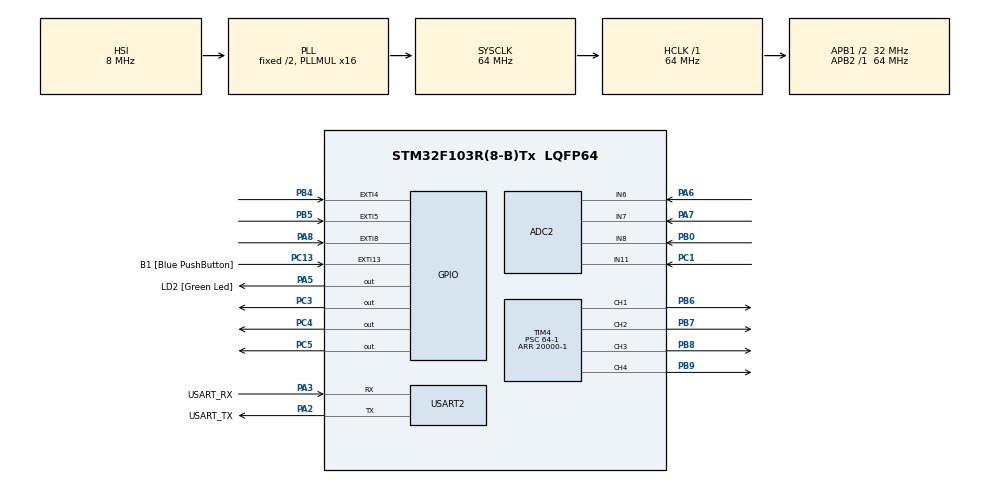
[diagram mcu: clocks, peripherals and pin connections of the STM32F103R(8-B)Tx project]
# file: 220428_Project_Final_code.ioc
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ADC2.Channel-0\#ChannelRegularConversion=ADC_CHANNEL_6
ADC2.Channel-1\#ChannelRegularConversion=ADC_CHANNEL_7
ADC2.Channel-2\#ChannelRegularConversion=ADC_CHANNEL_8
ADC2.Channel-3\#ChannelRegularConversion=ADC_CHANNEL_11
ADC2.ContinuousConvMode=DISABLE
ADC2.DiscontinuousConvMode=ENABLE
ADC2.NbrOfConversion=4
ADC2.NbrOfConversionFlag=1
ADC2.Rank-0\#ChannelRegularConversion=1
ADC2.Rank-1\#ChannelRegularConversion=2
ADC2.Rank-2\#ChannelRegularConversion=3
ADC2.Rank-3\#ChannelRegularConversion=4
ADC2.SamplingTime-0\#ChannelRegularConversion=ADC_SAMPLETIME_239CYCLES_5
ADC2.SamplingTime-1\#ChannelRegularConversion=ADC_SAMPLETIME_239CYCLES_5
ADC2.SamplingTime-2\#ChannelRegularConversion=ADC_SAMPLETIME_239CYCLES_5
ADC2.SamplingTime-3\#ChannelRegularConversion=ADC_SAMPLETIME_239CYCLES_5
Mcu.Family=STM32F1
Mcu.Name=STM32F103R(8-B)Tx
Mcu.Package=LQFP64
NVIC.EXTI15_10_IRQn=true\:0\:0\:false\:false\:true\:true\:true\:true
NVIC.EXTI4_IRQn=true\:0\:0\:false\:false\:true\:true\:true\:true
NVIC.EXTI9_5_IRQn=true\:0\:0\:false\:false\:true\:true\:true\:true
NVIC.PriorityGroup=NVIC_PRIORITYGROUP_4
PA13.GPIO_Label=TMS
PA13.Mode=Serial_Wire
PA13.Signal=SYS_JTMS-SWDIO
PA14.GPIO_Label=TCK
PA14.Mode=Serial_Wire
PA14.Signal=SYS_JTCK-SWCLK
PA2.GPIO_Label=USART_TX
PA2.GPIO_Mode=GPIO_MODE_AF_PP
PA2.GPIO_PuPd=GPIO_NOPULL
PA2.GPIO_Speed=GPIO_SPEED_FREQ_LOW
PA2.Mode=Asynchronous
PA2.Signal=USART2_TX
PA3.GPIO_Label=USART_RX
PA3.GPIO_Mode=GPIO_MODE_AF_PP
PA3.GPIO_PuPd=GPIO_NOPULL
PA3.GPIO_Speed=GPIO_SPEED_FREQ_LOW
PA3.Mode=Asynchronous
PA3.Signal=USART2_RX
PA5.GPIO_Label=LD2 [Green Led]
PA5.GPIO_ModeDefaultOutputPP=GPIO_MODE_OUTPUT_PP
PA5.GPIO_PuPd=GPIO_NOPULL
PA5.GPIO_Speed=GPIO_SPEED_FREQ_LOW
PA5.Signal=GPIO_Output
PA6.Signal=ADCx_IN6
PA7.Signal=ADCx_IN7
PA8.Signal=GPXTI8
PB0.Signal=ADCx_IN8
PB3.GPIO_Label=SWO
PB3.Signal=SYS_JTDO-TRACESWO
PB4.Signal=GPXTI4
PB5.Signal=GPXTI5
PB6.Signal=S_TIM4_CH1
PB7.Signal=S_TIM4_CH2
PB8.Signal=S_TIM4_CH3
PB9.Signal=S_TIM4_CH4
PC1.Signal=ADCx_IN11
PC13-TAMPER-RTC.GPIO_Label=B1 [Blue PushButton]
PC13-TAMPER-RTC.GPIO_PuPd=GPIO_NOPULL
PC13-TAMPER-RTC.Signal=GPXTI13
PC14-OSC32_IN.Mode=LSE-External-Oscillator
PC14-OSC32_IN.Signal=RCC_OSC32_IN
PC15-OSC32_OUT.Mode=LSE-External-Oscillator
PC15-OSC32_OUT.Signal=RCC_OSC32_OUT
PC3.Signal=GPIO_Output
PC4.Signal=GPIO_Output
PC5.Signal=GPIO_Output
PD0-OSC_IN.Mode=HSE-External-Clock-Source
PD0-OSC_IN.Signal=RCC_OSC_IN
PD1-OSC_OUT.Mode=HSE-External-Clock-Source
PD1-OSC_OUT.Signal=RCC_OSC_OUT
ProjectManager.HeapSize=0x200
ProjectManager.StackSize=0x400
ProjectManager.TargetToolchain=STM32CubeIDE
RCC.ADCPresc=RCC_ADCPCLK2_DIV8
RCC.AHBFreq_Value=64000000
RCC.APB1CLKDivider=RCC_HCLK_DIV2
RCC.APB1Freq_Value=32000000
RCC.APB1TimFreq_Value=64000000
RCC.APB2Freq_Value=64000000
RCC.APB2TimFreq_Value=64000000
RCC.HCLKFreq_Value=64000000
RCC.PLLMUL=RCC_PLL_MUL16
RCC.RTCClockSelection=RCC_RTCCLKSOURCE_LSE
RCC.SYSCLKFreq_VALUE=64000000
RCC.SYSCLKSource=RCC_SYSCLKSOURCE_PLLCLK
RCC.USBFreq_Value=64000000
SH.ADCx_IN11.0=ADC2_IN11,IN11
SH.ADCx_IN6.0=ADC2_IN6,IN6
SH.ADCx_IN7.0=ADC2_IN7,IN7
SH.ADCx_IN8.0=ADC2_IN8,IN8
SH.S_TIM4_CH1.0=TIM4_CH1,PWM Generation1 CH1
SH.S_TIM4_CH2.0=TIM4_CH2,PWM Generation2 CH2
SH.S_TIM4_CH3.0=TIM4_CH3,PWM Generation3 CH3
SH.S_TIM4_CH4.0=TIM4_CH4,PWM Generation4 CH4
TIM4.Channel-PWM\ Generation1\ CH1=TIM_CHANNEL_1
TIM4.Channel-PWM\ Generation2\ CH2=TIM_CHANNEL_2
TIM4.Channel-PWM\ Generation3\ CH3=TIM_CHANNEL_3
TIM4.Channel-PWM\ Generation4\ CH4=TIM_CHANNEL_4
TIM4.ClockDivision=TIM_CLOCKDIVISION_DIV1
TIM4.Period=20000-1
TIM4.Prescaler=64-1
TIM4.Pulse-PWM\ Generation1\ CH1=5000
TIM4.Pulse-PWM\ Generation2\ CH2=5000
TIM4.Pulse-PWM\ Generation3\ CH3=5000
TIM4.Pulse-PWM\ Generation4\ CH4=5000
USART2.VirtualMode=VM_ASYNC
board=NUCLEO-F103RB

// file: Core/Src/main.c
/* USER CODE BEGIN Header */
/**
  ******************************************************************************
  * @file           : main.c
  * @brief          : Main program body
  ******************************************************************************
  * @attention
  *
  * Copyright (c) 2022 STMicroelectronics.
  * All rights reserved.
  *
  * This software is licensed under terms that can be found in the LICENSE file
  * in the root directory of this software component.
  * If no LICENSE file comes with this software, it is provided AS-IS.
  *
  ******************************************************************************
  */
/* USER CODE END Header */
#include "main.h"

/* USER CODE BEGIN Includes */
#include "stdio.h"
/* USER CODE END Includes */

/* USER CODE BEGIN PTD */
#ifdef __GNUC__
/* With GCC, small printf (option LD Linker->Libraries->Small printf
   set to 'Yes') calls __io_putchar() */
#define PUTCHAR_PROTOTYPE int __io_putchar(int ch)
#else
#define PUTCHAR_PROTOTYPE int fputc(int ch, FILE *f)
#endif /* __GNUC__ */
/* USER CODE END PTD */

 ADC_HandleTypeDef hadc2;

TIM_HandleTypeDef htim4;

UART_HandleTypeDef huart2;

void SystemClock_Config(void);
static void MX_GPIO_Init(void);
static void MX_USART2_UART_Init(void);
static void MX_ADC2_Init(void);
static void MX_TIM4_Init(void);

/* USER CODE BEGIN 0 */
uint16_t state[4][2000] = {0};
uint16_t compare = 0;
int idx = 0;
uint16_t preVal1;
uint16_t preVal2;
uint16_t preVal3;
uint16_t preVal4;

/* USER CODE END 0 */

int main(void)
{
  /* USER CODE BEGIN 1 */
	uint16_t adcResult1 = 0;
	uint16_t adcResult2 = 0;
	uint16_t adcResult3 = 0;
	uint16_t adcResult4 = 0;
  /* USER CODE END 1 */

  /* MCU Configuration--------------------------------------------------------*/

  /* Reset of all peripherals, Initializes the Flash interface and the Systick. */
  HAL_Init();

  /* Configure the system clock */
  SystemClock_Config();

  /* Initialize all configured peripherals */
  MX_GPIO_Init();
  MX_USART2_UART_Init();
  MX_ADC2_Init();
  MX_TIM4_Init();
  /* USER CODE BEGIN 2 */
  HAL_TIM_PWM_Start(&htim4, TIM_CHANNEL_1);
  HAL_TIM_PWM_Start(&htim4, TIM_CHANNEL_2);
  HAL_TIM_PWM_Start(&htim4, TIM_CHANNEL_3);
  HAL_TIM_PWM_Start(&htim4, TIM_CHANNEL_4);
  /* USER CODE END 2 */

  /* Infinite loop */
  /* USER CODE BEGIN WHILE */
  while (1)
    {
  	  	  if(compare ==0){
  	  		  if(state[0][0] >0){
  	  			  for(int jdx= 0 ; jdx<4; jdx++){

  	  				  for(int kdx = 0; kdx<1000; kdx++){
  	  					state[jdx][kdx] = -1;
  	  				  }
  	  			  }
  	  			  idx = 0;
  	  		  }

  	  		  HAL_ADC_Start(&hadc2);
  	  		  HAL_ADC_PollForConversion(&hadc2, 100);
  	  		  int nowVal1 = HAL_ADC_GetValue(&hadc2)*180/78;
  	  		  if(nowVal1 >1800) nowVal1 = 1800;
  	  		  if(nowVal1 >=preVal1+ 10 ||nowVal1 <=preVal1- 10) 	preVal1 = nowVal1;
  	  		  adcResult1 = preVal1+600;

  	  		  HAL_ADC_Start(&hadc2);
  	  		  HAL_ADC_PollForConversion(&hadc2, 100);
  	  		  int nowVal2 = HAL_ADC_GetValue(&hadc2)*180/78;
  	  		  if(nowVal2 >1800) nowVal2 = 1800;
  	  		  if(nowVal2 >=preVal2+ 10 ||nowVal2 <=preVal2- 10)  	preVal2 = nowVal2;
  	  		  adcResult2 = preVal2+600;

  	  		  HAL_ADC_Start(&hadc2);
  	  		  HAL_ADC_PollForConversion(&hadc2, 100);
  	  		  int nowVal3 = HAL_ADC_GetValue(&hadc2)*180/78;
  	  		  if(nowVal3 >1800) nowVal3 = 1800;
  	  		  if(nowVal3 >=preVal3+ 10 ||nowVal3 <=preVal3- 10)  	preVal3 = nowVal3;
  	  		  adcResult3 = preVal3+600;

  	  		  HAL_ADC_Start(&hadc2);
  	  		  HAL_ADC_PollForConversion(&hadc2, 100);
  	  		  int nowVal4 = HAL_ADC_GetValue(&hadc2)*180/78;
  	  		  if(nowVal4 >500) nowVal4 = 500;
  	  		  if(nowVal4 >=preVal4+ 10 ||nowVal4 <=preVal4- 10)  	preVal4 = nowVal4;
  	  		  adcResult4 = preVal4+600;

  	  		  htim4.Instance->CCR1 = 3000-adcResult1;
  	  		  htim4.Instance->CCR2 = 3000-adcResult2;
			  htim4.Instance->CCR3 = 3000-adcResult3; //600 --> 2400
			  htim4.Instance->CCR4 = adcResult4;
			  printf("angle1 : %d		angle2 : %d	angle3 : %d	angle4 : %d\n\r",adcResult1,adcResult2,adcResult3,adcResult4);
  	  	  }

  	  	  else if(compare ==1){
  	  		  HAL_ADC_Start(&hadc2);
  	  		  HAL_ADC_PollForConversion(&hadc2, 100);
  	  		  int nowVal1 = HAL_ADC_GetValue(&hadc2)*180/78;
  	  		  if(nowVal1 >1800) nowVal1 = 1800;
  	  		  if(nowVal1 >=preVal1+ 10 ||nowVal1 <=preVal1- 10) 	preVal1 = nowVal1;
  	  		  adcResult1 = preVal1+600;

  	  		  HAL_ADC_Start(&hadc2);
  	  		  HAL_ADC_PollForConversion(&hadc2, 100);
  	  		  int nowVal2 = HAL_ADC_GetValue(&hadc2)*180/78;
  	  		  if(nowVal2 >1800) nowVal2 = 1800;
  	  		  if(nowVal2 >=preVal2+ 10 ||nowVal2 <=preVal2- 10)  	preVal2 = nowVal2;
  	  		  adcResult2 = preVal2+600;

  	  		  HAL_ADC_Start(&hadc2);
  	  		  HAL_ADC_PollForConversion(&hadc2, 100);
  	  		  int nowVal3 = HAL_ADC_GetValue(&hadc2)*180/78;
  	  		  if(nowVal3 >1800) nowVal3 = 1800;
  	  		  if(nowVal3 >=preVal3+ 10 ||nowVal3 <=preVal3- 10)  	preVal3 = nowVal3;
  	  		  adcResult3 = preVal3+600;

  	  		  HAL_ADC_Start(&hadc2);
  	  		  HAL_ADC_PollForConversion(&hadc2, 100);
  	  		  int nowVal4 = HAL_ADC_GetValue(&hadc2)*180/78;
  	  		  if(nowVal4 >1800) nowVal4 = 1800;
  	  		  if(nowVal4 >=preVal4+ 10 ||nowVal4 <=preVal4- 10)  	preVal4 = nowVal4;
  	  		  adcResult4 = preVal4+600;

  	  		  htim4.Instance->CCR1 = 3000-adcResult1;
  	  		  htim4.Instance->CCR2 = 3000-adcResult2;
  	  		  htim4.Instance->CCR3 = 3000-adcResult3;
  	  		  htim4.Instance->CCR4 = adcResult4;
  	  		  printf("store....\n\r\n\r");

  	  		  state[0][idx]= 3000-adcResult1;
  	  		  state[1][idx]= 3000-adcResult2;
  	  		  state[2][idx]= 3000-adcResult3;
  	  		  state[3][idx++]= adcResult4;

  	  	 	  HAL_Delay(10);
  	  	  }

  	  	  else if(compare ==2){
  	  		  for(int jdx = 0; jdx< idx; jdx++){
  	  			  printf("replay....\n\r\n\r");
  	  	  		  htim4.Instance->CCR1 = state[0][jdx];
  	  	  		  htim4.Instance->CCR2 = state[1][jdx];
  	  	  		  htim4.Instance->CCR3 = state[2][jdx];
  	  	  		  htim4.Instance->CCR4 = state[3][jdx];

  	  			  HAL_Delay(10);
  	  		  }
  	  	  }
    /* USER CODE END WHILE */

    }
}

void SystemClock_Config(void)
{
  RCC_OscInitTypeDef RCC_OscInitStruct = {0};
  RCC_ClkInitTypeDef RCC_ClkInitStruct = {0};
  RCC_PeriphCLKInitTypeDef PeriphClkInit = {0};

  /** Initializes the RCC Oscillators according to the specified parameters
  * in the RCC_OscInitTypeDef structure.
  */
  RCC_OscInitStruct.OscillatorType = RCC_OSCILLATORTYPE_HSI;
  RCC_OscInitStruct.HSIState = RCC_HSI_ON;
  RCC_OscInitStruct.HSICalibrationValue = RCC_HSICALIBRATION_DEFAULT;
  RCC_OscInitStruct.PLL.PLLState = RCC_PLL_ON;
  RCC_OscInitStruct.PLL.PLLSource = RCC_PLLSOURCE_HSI_DIV2;
  RCC_OscInitStruct.PLL.PLLMUL = RCC_PLL_MUL16;
  if (HAL_RCC_OscConfig(&RCC_OscInitStruct) != HAL_OK)
  {
    Error_Handler();
  }

  /** Initializes the CPU, AHB and APB buses clocks
  */
  RCC_ClkInitStruct.ClockType = RCC_CLOCKTYPE_HCLK|RCC_CLOCKTYPE_SYSCLK
                              |RCC_CLOCKTYPE_PCLK1|RCC_CLOCKTYPE_PCLK2;
  RCC_ClkInitStruct.SYSCLKSource = RCC_SYSCLKSOURCE_PLLCLK;
  RCC_ClkInitStruct.AHBCLKDivider = RCC_SYSCLK_DIV1;
  RCC_ClkInitStruct.APB1CLKDivider = RCC_HCLK_DIV2;
  RCC_ClkInitStruct.APB2CLKDivider = RCC_HCLK_DIV1;

  if (HAL_RCC_ClockConfig(&RCC_ClkInitStruct, FLASH_LATENCY_2) != HAL_OK)
  {
    Error_Handler();
  }
  PeriphClkInit.PeriphClockSelection = RCC_PERIPHCLK_ADC;
  PeriphClkInit.AdcClockSelection = RCC_ADCPCLK2_DIV8;
  if (HAL_RCCEx_PeriphCLKConfig(&PeriphClkInit) != HAL_OK)
  {
    Error_Handler();
  }
}

static void MX_ADC2_Init(void)
{

  ADC_ChannelConfTypeDef sConfig = {0};

  /** Common config
  */
  hadc2.Instance = ADC2;
  hadc2.Init.ScanConvMode = ADC_SCAN_ENABLE;
  hadc2.Init.ContinuousConvMode = DISABLE;
  hadc2.Init.DiscontinuousConvMode = ENABLE;
  hadc2.Init.NbrOfDiscConversion = 1;
  hadc2.Init.ExternalTrigConv = ADC_SOFTWARE_START;
  hadc2.Init.DataAlign = ADC_DATAALIGN_RIGHT;
  hadc2.Init.NbrOfConversion = 4;
  if (HAL_ADC_Init(&hadc2) != HAL_OK)
  {
    Error_Handler();
  }

  /** Configure Regular Channel
  */
  sConfig.Channel = ADC_CHANNEL_6;
  sConfig.Rank = ADC_REGULAR_RANK_1;
  sConfig.SamplingTime = ADC_SAMPLETIME_239CYCLES_5;
  if (HAL_ADC_ConfigChannel(&hadc2, &sConfig) != HAL_OK)
  {
    Error_Handler();
  }

  /** Configure Regular Channel
  */
  sConfig.Channel = ADC_CHANNEL_7;
  sConfig.Rank = ADC_REGULAR_RANK_2;
  if (HAL_ADC_ConfigChannel(&hadc2, &sConfig) != HAL_OK)
  {
    Error_Handler();
  }

  /** Configure Regular Channel
  */
  sConfig.Channel = ADC_CHANNEL_8;
  sConfig.Rank = ADC_REGULAR_RANK_3;
  if (HAL_ADC_ConfigChannel(&hadc2, &sConfig) != HAL_OK)
  {
    Error_Handler();
  }

  /** Configure Regular Channel
  */
  sConfig.Channel = ADC_CHANNEL_11;
  sConfig.Rank = ADC_REGULAR_RANK_4;
  if (HAL_ADC_ConfigChannel(&hadc2, &sConfig) != HAL_OK)
  {
    Error_Handler();
  }

}

static void MX_TIM4_Init(void)
{

  TIM_MasterConfigTypeDef sMasterConfig = {0};
  TIM_OC_InitTypeDef sConfigOC = {0};

  htim4.Instance = TIM4;
  htim4.Init.Prescaler = 64-1;
  htim4.Init.CounterMode = TIM_COUNTERMODE_UP;
  htim4.Init.Period = 20000-1;
  htim4.Init.ClockDivision = TIM_CLOCKDIVISION_DIV1;
  htim4.Init.AutoReloadPreload = TIM_AUTORELOAD_PRELOAD_DISABLE;
  if (HAL_TIM_PWM_Init(&htim4) != HAL_OK)
  {
    Error_Handler();
  }
  sMasterConfig.MasterOutputTrigger = TIM_TRGO_RESET;
  sMasterConfig.MasterSlaveMode = TIM_MASTERSLAVEMODE_DISABLE;
  if (HAL_TIMEx_MasterConfigSynchronization(&htim4, &sMasterConfig) != HAL_OK)
  {
    Error_Handler();
  }
  sConfigOC.OCMode = TIM_OCMODE_PWM1;
  sConfigOC.Pulse = 5000;
  sConfigOC.OCPolarity = TIM_OCPOLARITY_HIGH;
  sConfigOC.OCFastMode = TIM_OCFAST_DISABLE;
  if (HAL_TIM_PWM_ConfigChannel(&htim4, &sConfigOC, TIM_CHANNEL_1) != HAL_OK)
  {
    Error_Handler();
  }
  if (HAL_TIM_PWM_ConfigChannel(&htim4, &sConfigOC, TIM_CHANNEL_2) != HAL_OK)
  {
    Error_Handler();
  }
  if (HAL_TIM_PWM_ConfigChannel(&htim4, &sConfigOC, TIM_CHANNEL_3) != HAL_OK)
  {
    Error_Handler();
  }
  if (HAL_TIM_PWM_ConfigChannel(&htim4, &sConfigOC, TIM_CHANNEL_4) != HAL_OK)
  {
    Error_Handler();
  }
  HAL_TIM_MspPostInit(&htim4);

}

static void MX_USART2_UART_Init(void)
{

  huart2.Instance = USART2;
  huart2.Init.BaudRate = 115200;
  huart2.Init.WordLength = UART_WORDLENGTH_8B;
  huart2.Init.StopBits = UART_STOPBITS_1;
  huart2.Init.Parity = UART_PARITY_NONE;
  huart2.Init.Mode = UART_MODE_TX_RX;
  huart2.Init.HwFlowCtl = UART_HWCONTROL_NONE;
  huart2.Init.OverSampling = UART_OVERSAMPLING_16;
  if (HAL_UART_Init(&huart2) != HAL_OK)
  {
    Error_Handler();
  }

}

static void MX_GPIO_Init(void)
{
  GPIO_InitTypeDef GPIO_InitStruct = {0};

  /* GPIO Ports Clock Enable */
  __HAL_RCC_GPIOC_CLK_ENABLE();
  __HAL_RCC_GPIOD_CLK_ENABLE();
  __HAL_RCC_GPIOA_CLK_ENABLE();
  __HAL_RCC_GPIOB_CLK_ENABLE();

  /*Configure GPIO pin Output Level */
  HAL_GPIO_WritePin(GPIOC, GPIO_PIN_3|GPIO_PIN_4|GPIO_PIN_5, GPIO_PIN_RESET);

  /*Configure GPIO pin Output Level */
  HAL_GPIO_WritePin(LD2_GPIO_Port, LD2_Pin, GPIO_PIN_RESET);

  /*Configure GPIO pin : B1_Pin */
  GPIO_InitStruct.Pin = B1_Pin;
  GPIO_InitStruct.Mode = GPIO_MODE_IT_RISING;
  GPIO_InitStruct.Pull = GPIO_NOPULL;
  HAL_GPIO_Init(B1_GPIO_Port, &GPIO_InitStruct);

  /*Configure GPIO pins : PC3 PC4 PC5 */
  GPIO_InitStruct.Pin = GPIO_PIN_3|GPIO_PIN_4|GPIO_PIN_5;
  GPIO_InitStruct.Mode = GPIO_MODE_OUTPUT_PP;
  GPIO_InitStruct.Pull = GPIO_NOPULL;
  GPIO_InitStruct.Speed = GPIO_SPEED_FREQ_LOW;
  HAL_GPIO_Init(GPIOC, &GPIO_InitStruct);

  /*Configure GPIO pin : LD2_Pin */
  GPIO_InitStruct.Pin = LD2_Pin;
  GPIO_InitStruct.Mode = GPIO_MODE_OUTPUT_PP;
  GPIO_InitStruct.Pull = GPIO_NOPULL;
  GPIO_InitStruct.Speed = GPIO_SPEED_FREQ_LOW;
  HAL_GPIO_Init(LD2_GPIO_Port, &GPIO_InitStruct);

  /*Configure GPIO pin : PA8 */
  GPIO_InitStruct.Pin = GPIO_PIN_8;
  GPIO_InitStruct.Mode = GPIO_MODE_IT_RISING;
  GPIO_InitStruct.Pull = GPIO_NOPULL;
  HAL_GPIO_Init(GPIOA, &GPIO_InitStruct);

  /*Configure GPIO pins : PB4 PB5 */
  GPIO_InitStruct.Pin = GPIO_PIN_4|GPIO_PIN_5;
  GPIO_InitStruct.Mode = GPIO_MODE_IT_RISING;
  GPIO_InitStruct.Pull = GPIO_NOPULL;
  HAL_GPIO_Init(GPIOB, &GPIO_InitStruct);

  /* EXTI interrupt init*/
  HAL_NVIC_SetPriority(EXTI4_IRQn, 0, 0);
  HAL_NVIC_EnableIRQ(EXTI4_IRQn);

  HAL_NVIC_SetPriority(EXTI9_5_IRQn, 0, 0);
  HAL_NVIC_EnableIRQ(EXTI9_5_IRQn);

  HAL_NVIC_SetPriority(EXTI15_10_IRQn, 0, 0);
  HAL_NVIC_EnableIRQ(EXTI15_10_IRQn);

}

/* USER CODE BEGIN 4 */
PUTCHAR_PROTOTYPE
{
  /* Place your implementation of fputc here */
  /* e.g. write a character to the USART1 and Loop until the end of transmission */
  HAL_UART_Transmit(&huart2,(uint8_t *)&ch, 1, 0xFFFF);

  return ch;
}

void HAL_GPIO_EXTI_Callback(uint16_t GPIO_Pin){

	if(GPIO_Pin == GPIO_PIN_8){
		compare =0;
		HAL_GPIO_WritePin(GPIOC,GPIO_PIN_3,GPIO_PIN_SET);
		HAL_GPIO_WritePin(GPIOC,GPIO_PIN_4,GPIO_PIN_RESET);
		HAL_GPIO_WritePin(GPIOC,GPIO_PIN_5,GPIO_PIN_RESET);
	}
	if(GPIO_Pin == GPIO_PIN_4){
		compare = 1;
		HAL_GPIO_WritePin(GPIOC,GPIO_PIN_3,GPIO_PIN_RESET);
		HAL_GPIO_WritePin(GPIOC,GPIO_PIN_4,GPIO_PIN_SET);
		HAL_GPIO_WritePin(GPIOC,GPIO_PIN_5,GPIO_PIN_RESET);
	}
	if(GPIO_Pin == GPIO_PIN_5){
		compare = 2;
		HAL_GPIO_WritePin(GPIOC,GPIO_PIN_3,GPIO_PIN_RESET);
		HAL_GPIO_WritePin(GPIOC,GPIO_PIN_4,GPIO_PIN_RESET);
		HAL_GPIO_WritePin(GPIOC,GPIO_PIN_5,GPIO_PIN_SET);
	}
}
/* USER CODE END 4 */

void Error_Handler(void)
{
  __disable_irq();
  while (1)
  {
  }
}
